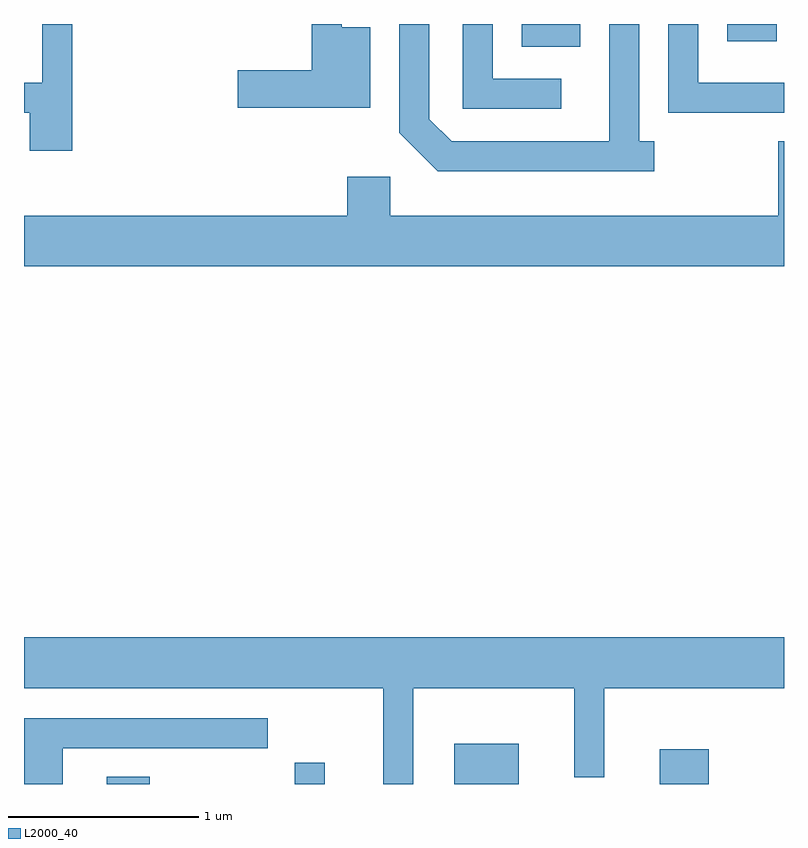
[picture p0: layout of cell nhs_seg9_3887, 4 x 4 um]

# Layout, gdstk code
import gdstk
lib = gdstk.Library(unit=1e-6, precision=1e-09)
def R(c, l, rs):  # rectangles x0, y0, x1, y1
    for r in rs: c.add(gdstk.rectangle(r[:2], r[2:], *l))
def P(c, l, *ps):  # polygons
    for p in ps: c.add(gdstk.Polygon(p, *l))
L2000_40 = (2000, 40)

nhs_seg9_3887 = lib.new_cell('nhs_seg9_3887')
R(nhs_seg9_3887, L2000_40, [(300.046,1982.432,300.274,1982.469), (301.036,1982.432,301.194,1982.543), (301.876,1982.432,302.214,1982.644), (302.956,1982.432,303.214,1982.614), (302.231,1986.311,302.539,1986.432), (303.311,1986.341,303.574,1986.432)])
P(nhs_seg9_3887, L2000_40, [(303.611,1986.124),(303.159,1986.124),(303.159,1986.432),(303.001,1986.432),(303.001,1985.966),(303.611,1985.966)],
  [(301.434,1986.414),(301.284,1986.414),(301.284,1986.432),(301.126,1986.432),(301.126,1986.189),(300.736,1986.189),(300.736,1985.991),(301.434,1985.991)],
  [(302.438,1986.144),(302.079,1986.144),(302.079,1986.432),(301.921,1986.432),(301.921,1985.986),(302.438,1985.986)],
  [(299.864,1986.432),(299.706,1986.432),(299.706,1986.124),(299.611,1986.124),(299.611,1985.966),(299.641,1985.966),(299.641,1985.766),(299.864,1985.766)],
  [(302.928,1985.814),(302.849,1985.814),(302.849,1986.432),(302.691,1986.432),(302.691,1985.814),(301.862,1985.814),(301.744,1985.932),(301.744,1986.432),(301.586,1986.432),(301.586,1985.859),(301.789,1985.656),(302.928,1985.656)],
  [(303.611,1985.814),(303.581,1985.814),(303.581,1985.424),(301.539,1985.424),(301.539,1985.629),(301.311,1985.629),(301.311,1985.424),(299.611,1985.424),(299.611,1985.156),(303.611,1985.156)],
  [(301.659,1982.936),(302.506,1982.936),(302.506,1982.468),(302.664,1982.468),(302.664,1982.936),(303.611,1982.936),(303.611,1983.204),(299.611,1983.204),(299.611,1982.936),(301.501,1982.936),(301.501,1982.432),(301.659,1982.432)],
  [(299.814,1982.621),(300.893,1982.621),(300.893,1982.779),(299.611,1982.779),(299.611,1982.432),(299.814,1982.432)])

lib.write_gds('nhs_seg9_3887.gds')
